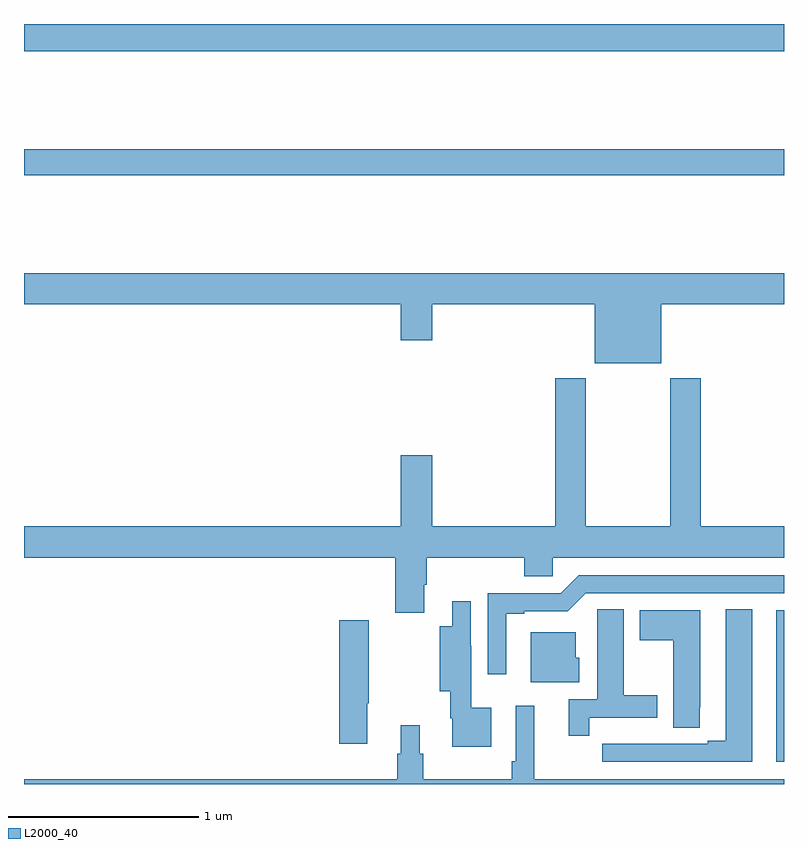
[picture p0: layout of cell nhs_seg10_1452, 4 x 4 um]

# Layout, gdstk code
import gdstk
lib = gdstk.Library(unit=1e-6, precision=1e-09)
def R(c, l, rs):  # rectangles x0, y0, x1, y1
    for r in rs: c.add(gdstk.rectangle(r[:2], r[2:], *l))
def P(c, l, *ps):  # polygons
    for p in ps: c.add(gdstk.Polygon(p, *l))
L2000_40 = (2000, 40)

nhs_seg10_1452 = lib.new_cell('nhs_seg10_1452')
R(nhs_seg10_1452, L2000_40, [(190.958,1256.616,191,1257.414), (187,1259.704,191,1259.84), (187,1260.356,191,1260.5)])
P(nhs_seg10_1452, L2000_40, [(190.354,1259.024),(191,1259.024),(191,1259.188),(187,1259.188),(187,1259.024),(188.984,1259.024),(188.984,1258.836),(189.148,1258.836),(189.148,1259.024),(190.004,1259.024),(190.004,1258.715),(190.354,1258.715)],
  [(189.106,1257.55),(189.119,1257.55),(189.119,1257.692),(189.632,1257.692),(189.632,1257.594),(189.783,1257.594),(189.783,1257.692),(191,1257.692),(191,1257.856),(190.562,1257.856),(190.562,1258.636),(190.402,1258.636),(190.402,1257.856),(189.957,1257.856),(189.957,1258.636),(189.797,1258.636),(189.797,1257.856),(189.148,1257.856),(189.148,1258.231),(188.984,1258.231),(188.984,1257.856),(187,1257.856),(187,1257.692),(188.954,1257.692),(188.954,1257.402),(189.106,1257.402)],
  [(189.538,1257.396),(189.634,1257.396),(189.634,1257.408),(189.861,1257.408),(189.957,1257.504),(191,1257.504),(191,1257.6),(189.921,1257.6),(189.825,1257.504),(189.441,1257.504),(189.441,1257.078),(189.538,1257.078)],
  [(189.46,1256.902),(189.354,1256.902),(189.354,1257.227),(189.352,1257.227),(189.352,1257.463),(189.254,1257.463),(189.254,1257.331),(189.187,1257.331),(189.187,1256.987),(189.243,1256.987),(189.243,1256.846),(189.255,1256.846),(189.255,1256.696),(189.46,1256.696)],
  [(189.974,1256.85),(190.333,1256.85),(190.333,1256.967),(190.156,1256.967),(190.156,1257.419),(190.017,1257.419),(190.017,1257.308),(190.016,1257.308),(190.016,1256.946),(189.866,1256.946),(189.866,1256.754),(189.974,1256.754)],
  [(190.834,1257.419),(190.694,1257.419),(190.694,1256.727),(190.598,1256.727),(190.598,1256.712),(190.322,1256.712),(190.322,1256.713),(190.156,1256.713),(190.156,1256.712),(190.044,1256.712),(190.044,1256.616),(190.834,1256.616)],
  [(190.557,1256.905),(190.558,1256.905),(190.558,1257.415),(190.241,1257.415),(190.241,1257.256),(190.418,1257.256),(190.418,1256.797),(190.557,1256.797)],
  [(188.806,1256.924),(188.814,1256.924),(188.814,1257.361),(188.66,1257.361),(188.66,1256.712),(188.806,1256.712)],
  [(189.922,1257.165),(189.904,1257.165),(189.904,1257.298),(189.668,1257.298),(189.668,1257.035),(189.922,1257.035)],
  [(191,1256.524),(189.686,1256.524),(189.686,1256.911),(189.588,1256.911),(189.588,1256.62),(189.568,1256.62),(189.568,1256.524),(189.101,1256.524),(189.101,1256.658),(189.082,1256.658),(189.082,1256.809),(188.984,1256.809),(188.984,1256.658),(188.965,1256.658),(188.965,1256.524),(187,1256.524),(187,1256.5),(191,1256.5)])

lib.write_gds('nhs_seg10_1452.gds')
